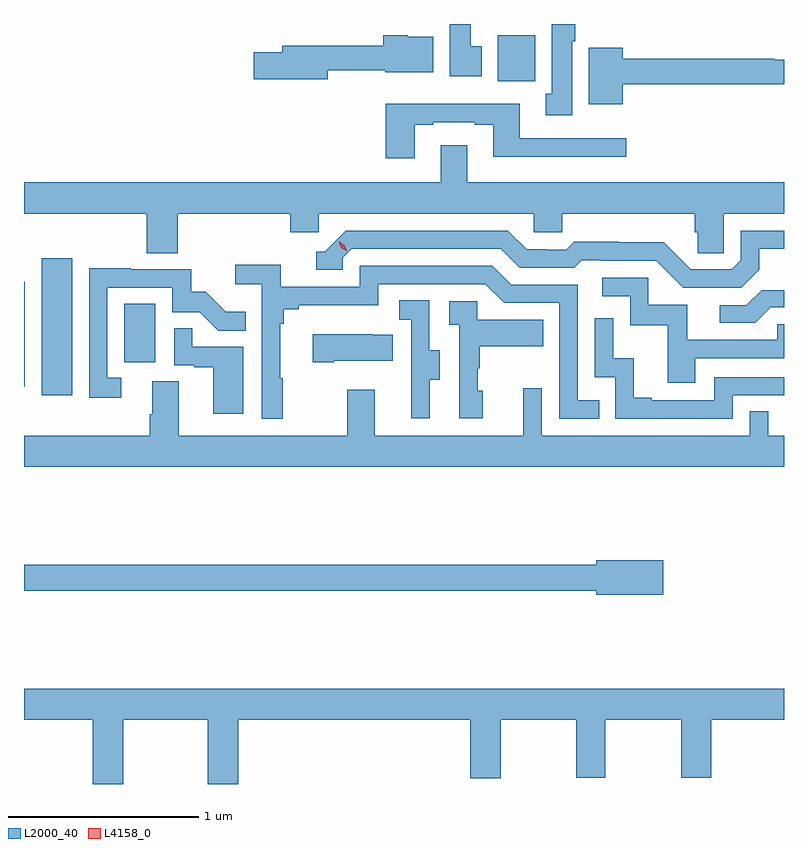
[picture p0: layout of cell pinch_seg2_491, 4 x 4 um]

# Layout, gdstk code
import gdstk
lib = gdstk.Library(unit=1e-6, precision=1e-09)
def R(c, l, rs):  # rectangles x0, y0, x1, y1
    for r in rs: c.add(gdstk.rectangle(r[:2], r[2:], *l))
def P(c, l, *ps):  # polygons
    for p in ps: c.add(gdstk.Polygon(p, *l))
L2000_40 = (2000, 40)
L4158_0 = (4158, 0)

pinch_seg2_491 = lib.new_cell('pinch_seg2_491')
R(pinch_seg2_491, L2000_40, [(976.073,588.072,976.234,588.793), (975.98,588.118,975.984,588.67), (976.508,588.246,976.672,588.553), (978.473,589.724,978.67,589.966)])
P(pinch_seg2_491, L2000_40, [(978.388,589.908),(978.331,589.908),(978.331,590.026),(978.221,590.026),(978.221,589.752),(978.388,589.752)],
  [(978.865,589.934),(978.88,589.934),(978.88,590.026),(978.758,590.026),(978.758,589.658),(978.725,589.658),(978.725,589.545),(978.865,589.545)],
  [(977.578,589.783),(977.882,589.783),(977.882,589.772),(978.133,589.772),(978.133,589.96),(978,589.96),(978,589.966),(977.87,589.966),(977.87,589.912),(977.339,589.912),(977.339,589.878),(977.19,589.878),(977.19,589.736),(977.578,589.736)],
  [(979.132,589.708),(979.98,589.708),(979.98,589.837),(979.928,589.837),(979.928,589.844),(979.132,589.844),(979.132,589.9),(978.953,589.9),(978.953,589.604),(979.132,589.604)],
  [(978.037,589.497),(978.133,589.497),(978.133,589.509),(978.353,589.509),(978.353,589.497),(978.449,589.497),(978.449,589.328),(979.15,589.328),(979.15,589.425),(978.589,589.425),(978.589,589.606),(977.885,589.606),(977.885,589.32),(978.037,589.32)],
  [(978.313,589.387),(978.173,589.387),(978.173,589.192),(975.98,589.192),(975.98,589.028),(976.625,589.028),(976.625,588.82),(976.79,588.82),(976.79,589.028),(977.381,589.028),(977.381,588.93),(977.532,588.93),(977.532,589.028),(978.663,589.028),(978.663,588.93),(978.813,588.93),(978.813,589.028),(979.511,589.028),(979.511,588.93),(979.525,588.93),(979.525,588.82),(979.662,588.82),(979.662,589.028),(979.98,589.028),(979.98,589.192),(978.313,589.192)],
  [(979.849,588.733),(979.849,588.843),(979.98,588.843),(979.98,588.939),(979.752,588.939),(979.752,588.783),(979.704,588.735),(979.488,588.735),(979.346,588.877),(979.11,588.877),(979.11,588.88),(978.877,588.88),(978.835,588.837),(978.732,588.837),(978.732,588.84),(978.625,588.84),(978.526,588.939),(977.673,588.939),(977.562,588.828),(977.519,588.828),(977.519,588.732),(977.658,588.732),(977.658,588.795),(977.706,588.843),(978.489,588.843),(978.588,588.744),(978.877,588.744),(978.916,588.783),(979.015,588.783),(979.015,588.78),(979.308,588.78),(979.449,588.639),(979.755,588.639)],
  [(977.341,588.161),(977.329,588.161),(977.329,588.449),(977.348,588.449),(977.348,588.526),(977.425,588.526),(977.425,588.545),(977.844,588.545),(977.844,588.657),(978.408,588.657),(978.507,588.558),(978.798,588.558),(978.798,587.949),(979.007,587.949),(979.007,588.045),(978.894,588.045),(978.894,588.654),(978.544,588.654),(978.445,588.753),(977.748,588.753),(977.748,588.642),(977.33,588.642),(977.33,588.758),(977.091,588.758),(977.091,588.656),(977.232,588.656),(977.232,587.949),(977.341,587.949)],
  [(976.492,588.165),(976.419,588.165),(976.419,588.639),(976.761,588.639),(976.761,588.51),(976.905,588.51),(977.003,588.412),(977.147,588.412),(977.147,588.511),(977.043,588.511),(976.936,588.618),(976.86,588.618),(976.86,588.735),(976.541,588.735),(976.541,588.74),(976.323,588.74),(976.323,588.06),(976.492,588.06)],
  [(979.513,588.267),(979.98,588.267),(979.98,588.447),(979.945,588.447),(979.945,588.363),(979.471,588.363),(979.471,588.549),(979.266,588.549),(979.266,588.69),(979.023,588.69),(979.023,588.594),(979.17,588.594),(979.17,588.441),(979.369,588.441),(979.369,588.138),(979.513,588.138)],
  [(979.909,588.534),(979.98,588.534),(979.98,588.626),(979.862,588.626),(979.782,588.546),(979.641,588.546),(979.641,588.453),(979.828,588.453)],
  [(978.115,588.154),(978.169,588.154),(978.169,588.309),(978.114,588.309),(978.114,588.572),(977.955,588.572),(977.955,588.469),(978.018,588.469),(978.018,588.165),(978.017,588.165),(978.017,587.952),(978.115,587.952)],
  [(978.394,588.096),(978.369,588.096),(978.369,588.215),(978.379,588.215),(978.379,588.329),(978.713,588.329),(978.713,588.469),(978.366,588.469),(978.366,588.567),(978.219,588.567),(978.219,588.443),(978.27,588.443),(978.27,587.952),(978.394,587.952)],
  [(979.71,588.072),(979.98,588.072),(979.98,588.168),(979.614,588.168),(979.614,588.045),(979.285,588.045),(979.285,588.058),(979.19,588.058),(979.19,588.266),(979.08,588.266),(979.08,588.478),(978.984,588.478),(978.984,588.168),(979.092,588.168),(979.092,587.949),(979.71,587.949)],
  [(977.134,588.327),(976.865,588.327),(976.865,588.425),(976.77,588.425),(976.77,588.231),(976.877,588.231),(976.877,588.219),(976.976,588.219),(976.976,587.976),(977.134,587.976)],
  [(977.611,588.254),(977.921,588.254),(977.921,588.391),(977.813,588.391),(977.813,588.394),(977.499,588.394),(977.499,588.247),(977.611,588.247)],
  [(979.98,587.86),(979.896,587.86),(979.896,587.987),(979.8,587.987),(979.8,587.86),(978.705,587.86),(978.705,588.109),(978.608,588.109),(978.608,587.86),(977.827,587.86),(977.827,588.1),(977.68,588.1),(977.68,587.86),(976.795,587.86),(976.795,588.146),(976.655,588.146),(976.655,587.972),(976.643,587.972),(976.643,587.86),(975.98,587.86),(975.98,587.696),(979.98,587.696)],
  [(979.345,587.204),(978.992,587.204),(978.992,587.18),(975.98,587.18),(975.98,587.044),(978.992,587.044),(978.992,587.021),(979.345,587.021)],
  [(976.503,586.364),(976.948,586.364),(976.948,586.026),(977.108,586.026),(977.108,586.364),(978.329,586.364),(978.329,586.056),(978.489,586.056),(978.489,586.364),(978.886,586.364),(978.886,586.06),(979.04,586.06),(979.04,586.364),(979.438,586.364),(979.438,586.06),(979.598,586.06),(979.598,586.364),(979.98,586.364),(979.98,586.528),(975.98,586.528),(975.98,586.364),(976.343,586.364),(976.343,586.026),(976.503,586.026)])
P(pinch_seg2_491, L4158_0, [(977.682,588.829),(977.651,588.849),(977.636,588.882),(977.636,588.882),(977.636,588.882),(977.666,588.862),(977.682,588.829),(977.682,588.829)])

lib.write_gds('pinch_seg2_491.gds')
